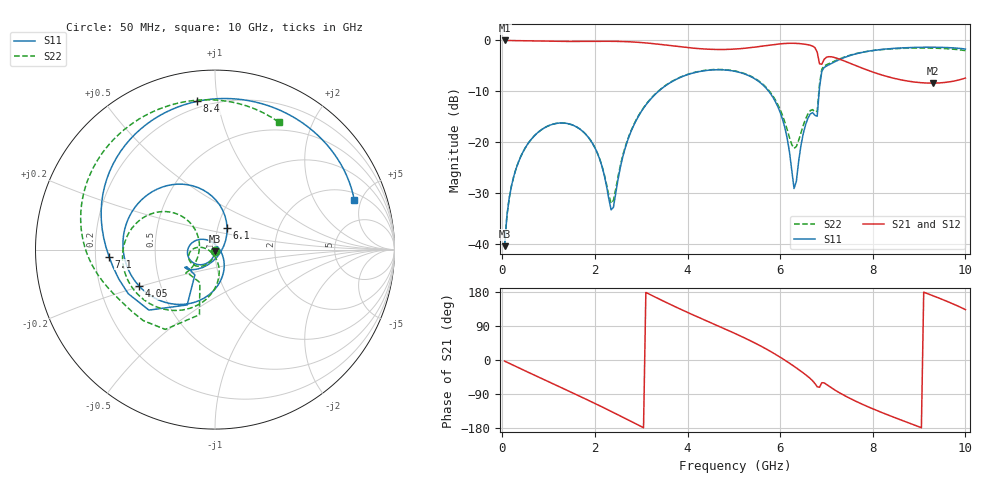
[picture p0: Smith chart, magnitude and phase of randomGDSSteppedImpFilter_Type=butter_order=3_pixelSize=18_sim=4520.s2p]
! freq	dB(S11)	phase(S11)	dB(S12)	phase(S12)
!  dB(S21)	phase(S21)	dB(S22)	phase(S22)
!S-par simulation data
#  GHz  S  DB  R 50
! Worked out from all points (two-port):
!   200 points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, 50 MHz to 10 GHz, reference 50 ohm
!   highest |S21| = 0.00 dB at 50 MHz (marker M1); lowest = -8.4 dB at 9.3 GHz (marker M2)
!   |S21| within 3 dB of the highest: start of sweep to 6.815 GHz
!   lowest |S11| = -40.4 dB at 50 MHz (marker M3), VSWR 1.02, Z = 49.9 - j0.955 ohm
!   |S11| at or under -10 dB: start of sweep to 3.371 GHz; 5.755 GHz to 6.843 GHz (1.088 GHz wide, 17.3 % of centre)
!   |S22| runs from -40.3 to -1.5 dB; largest |S21 - S12| = 0
!   S11 on the Smith chart (normalised r, x): 50 MHz: 1.00, -0.02; 4.05 GHz: 0.38, -0.20; 6.1 GHz: 1.11, +0.28; 7.1 GHz: 0.26, -0.03; 8.4 GHz: 0.16, +0.87; 10 GHz: 2.58, +4.38
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0.05  -40.38 -92.5  -0.00 -3.0  -0.00 -3.0  -40.33 -91.9
0.2  -28.50 -102.0  -0.03 -11.7  -0.03 -11.7  -28.48 -100.6
0.55  -20.32 -124.4  -0.08 -31.8  -0.08 -31.8  -20.32 -120.1
1.75  -17.95 159.4  -0.19 -100.1  -0.19 -100.1  -17.94 180.0
2.1  -23.23 129.1  -0.17 -120.6  -0.17 -120.6  -23.17 170.8
2.35  -33.25 53.8  -0.17 -135.6  -0.17 -135.6  -31.97 -142.8
2.75  -18.55 -64.8  -0.27 -160.1  -0.27 -160.1  -18.40 -78.8
3.4  -9.77 -113.5  -0.77 160.1  -0.77 160.1  -9.71 -108.0
4.05  -6.57 -154.4  -1.45 122.8  -1.45 122.8  -6.52 -140.5
5.05  -6.11 146.2  -1.68 68.6  -1.68 68.6  -6.05 172.7
5.7  -9.40 101.3  -1.01 29.0  -1.01 29.0  -9.25 142.1
6.1  -17.06 61.3  -0.60 -0.3  -0.60 -0.3  -15.99 134.7
6.3  -29.07 -17.5  -0.56 -16.6  -0.56 -16.6  -21.18 172.9
6.7  -14.16 -149.4  -1.11 -54.8  -1.11 -54.8  -13.58 -141.2
6.8  -14.87 -128.4  -2.30 -70.7  -2.30 -70.7  -13.89 -114.6
6.9  -6.04 -137.5  -4.67 -59.9  -4.67 -59.9  -5.62 -121.9
7.1  -4.56 -176.2  -3.21 -73.0  -3.21 -73.0  -4.37 -153.3
7.6  -2.72 143.3  -4.82 -106.9  -4.82 -106.9  -2.66 176.3
8.35  -1.63 99.5  -7.18 -146.1  -7.18 -146.1  -1.68 141.6
8.4  -1.60 96.9  -7.30 -148.5  -7.30 -148.5  -1.65 139.5
9.3  -1.33 52.9  -8.38 169.6  -8.38 169.6  -1.51 100.4
10  -1.69 19.4  -7.38 133.1  -7.38 133.1  -2.00 63.4
